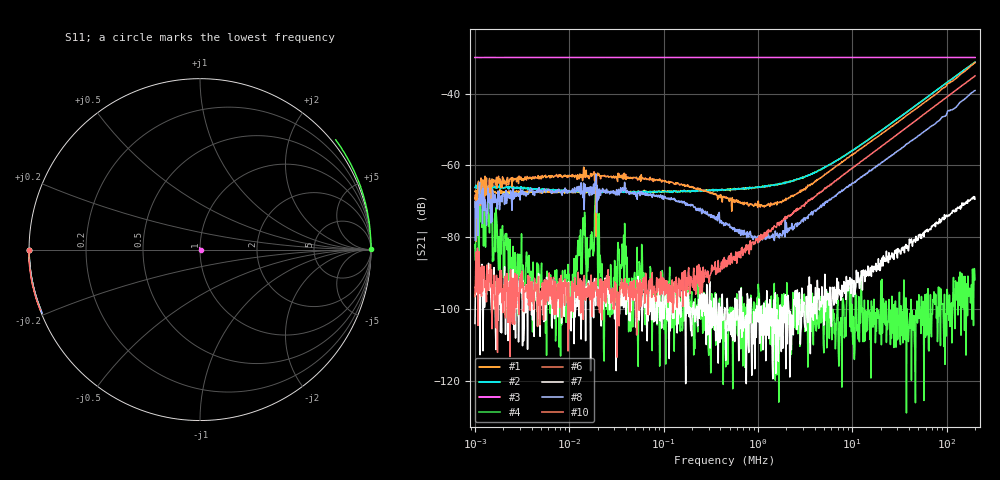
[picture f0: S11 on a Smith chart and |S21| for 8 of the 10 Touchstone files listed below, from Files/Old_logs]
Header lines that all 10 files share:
! ListType=Log
# MHZ S RI R 50
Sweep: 1 kHz to 200 MHz
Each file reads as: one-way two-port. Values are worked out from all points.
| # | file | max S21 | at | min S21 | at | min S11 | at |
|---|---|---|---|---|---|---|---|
| 1 | 10mohm_ferrite_bead.s2p | -31.29 dB | 200 MHz | -68.0 dB | 2.352 kHz | 0.0 dB | 200 MHz |
| 2 | 10mohm_no_ferrite_bead.s2p | -31.30 dB | 200 MHz | -67.6 dB | 44.15 kHz | 0.0 dB | 200 MHz |
| 3 | 30dB_attn.s2p | -29.91 dB | 23.97 kHz | -30.0 dB | 1.201 kHz | -47.8 dB | 11.95 kHz |
| 4 | noise_floor_preamp.s2p | -66.84 dB | 19 kHz | -128.9 dB | 37.5 MHz | 0.0 dB | 23.97 kHz |
| 5 | via_gl2_13dia_ferrite_bead.s2p | -61.07 dB | 200 MHz | -124.0 dB | 995.6 kHz | 0.0 dB | 11.95 kHz |
| 6 | via_gl2_13dia_RF_AMP_ferrite_bead.s2p | -31.44 dB | 200 MHz | -81.1 dB | 1.025 kHz | 0.0 dB | 200 MHz |
| 7 | via_gl2_26dia_ferrite_bead.s2p | -68.68 dB | 192.8 MHz | -120.7 dB | 171.4 kHz | 0.0 dB | 11.95 kHz |
| 8 | via_gl2_26dia_RF_AMP_ferrite_bead.s2p | -39.18 dB | 200 MHz | -81.3 dB | 1.033 MHz | -0.1 dB | 11.95 kHz |
| 9 | via_gl4_13dia_ferrite_bead.s2p | -30.69 dB | 200 MHz | -97.1 dB | 2.295 kHz | -0.1 dB | 11.95 kHz |
| 10 | via_gl4_26dia_ferrite_bead.s2p | -35.10 dB | 200 MHz | -113.3 dB | 32.14 kHz | 0.0 dB | 200 MHz |
